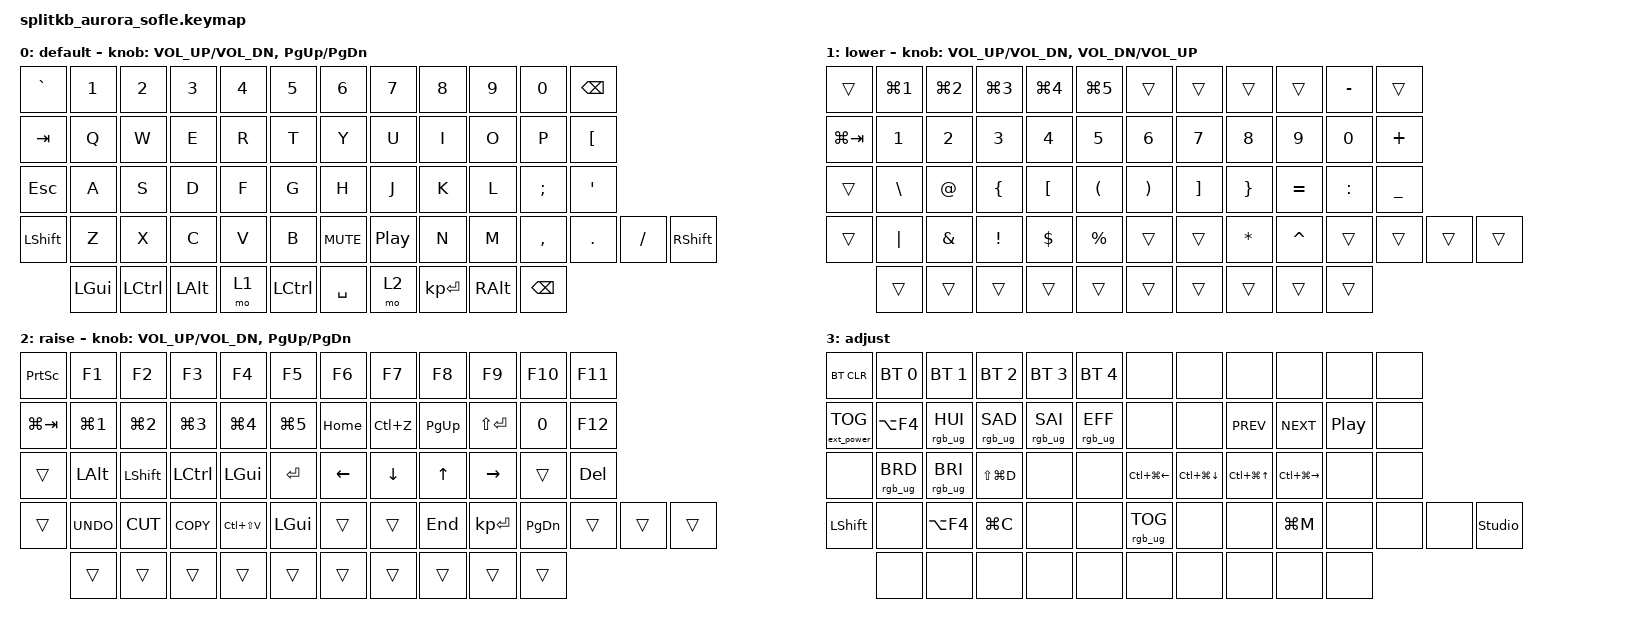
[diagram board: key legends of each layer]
/*
 * Copyright (c) 2020 The ZMK Contributors
 *
 * SPDX-License-Identifier: MIT
 */

#include <behaviors.dtsi>
#include <dt-bindings/zmk/bt.h>
#include <dt-bindings/zmk/ext_power.h>
#include <dt-bindings/zmk/keys.h>
#include <dt-bindings/zmk/rgb.h>

#define BASE 0
#define LOWER 1
#define RAISE 2
#define ADJUST 3

/ {
    // Activate ADJUST layer by pressing raise and lower

    conditional_layers {
        compatible = "zmk,conditional-layers";

        tri_layer {
            if-layers = <LOWER RAISE>;
            then-layer = <ADJUST>;
        };
    };

    macros {
        new_macro: new_macro {
            compatible = "zmk,behavior-macro";
            #binding-cells = <0>;
            bindings = <&none>;
            label = "NEW_MACRO";
        };
    };

    keymap {
        compatible = "zmk,keymap";

        default_layer {
            display-name = "default";

            // ------------------------------------------------------------------------------------------------------------
            // |   GRAVE   |     N1    |     N2    |     N3    |     N4    |     N5    |            |     N6    |     N7    |     N8    |     N9    |     N0    | BACKSPACE |
            // |    TAB    |     Q     |     W     |     E     |     R     |     T     |            |     Y     |     U     |     I     |     O     |     P     |    LBKT   |
            // |    ESC    |     A     |     S     |     D     |     F     |     G     |            |     H     |     J     |     K     |     L     |    SEMI   |    SQT    |
            // |   LSHFT   |     Z     |     X     |     C     |     V     |     B     |   C_MUTE  | |    C_PP   |     N     |     M     |   COMMA   |    DOT    |    FSLH   |   RSHFT   |
            //             |    LGUI   |   LCTRL   |    LALT   |    MO1    |   LCTRL   | |   SPACE   |    MO2    |  KP_ENTER |    RALT   | BACKSPACE |

            bindings = <
&kp GRAVE      &kp N1         &kp N2         &kp N3         &kp N4         &kp N5         &kp N6         &kp N7         &kp N8         &kp N9         &kp N0         &kp BACKSPACE
&kp TAB        &kp Q          &kp W          &kp E          &kp R          &kp T          &kp Y          &kp U          &kp I          &kp O          &kp P          &kp LBKT
&kp ESC        &kp A          &kp S          &kp D          &kp F          &kp G          &kp H          &kp J          &kp K          &kp L          &kp SEMI       &kp SQT
&kp LSHFT      &kp Z          &kp X          &kp C          &kp V          &kp B          &kp C_MUTE     &kp C_PP       &kp N          &kp M          &kp COMMA      &kp DOT        &kp FSLH       &kp RSHFT
               &kp LGUI       &kp LCTRL      &kp LALT       &mo 1          &kp LCTRL      &kp SPACE      &mo 2          &kp KP_ENTER   &kp RALT       &kp BACKSPACE
            >;

            sensor-bindings = <&inc_dec_kp C_VOL_UP C_VOL_DN &inc_dec_kp PG_UP PG_DN>;
        };

        lower_layer {
            display-name = "lower";

            // TODO: Some binds are waiting for shifted keycode support.
            // ------------------------------------------------------------------------------------------------------------
            // |         |  LG(N1) |  LG(N2) |  LG(N3) |  LG(N4) |  LG(N5) |          |         |         |         |         |  MINUS  |         |
            // | LG(TAB) |    N1   |    N2   |    N3   |    N4   |    N5   |          |    N6   |    N7   |    N8   |    N9   |    N0   |   PLUS  |
            // |         |   BSLH  |    AT   |   LBRC  |   LBKT  |   LPAR  |          |   RPAR  |   RBKT  |   RBRC  |  EQUAL  |  COLON  |  UNDER  |
            // |         |   PIPE  |   AMPS  |   EXCL  |   DLLR  |  PRCNT  |         | |         |  ASTRK  |  CARET  |         |         |         |         |
            //           |         |         |         |         |         | |         |         |         |         |         |

            bindings = <
&trans       &kp LG(N1)   &kp LG(N2)   &kp LG(N3)   &kp LG(N4)   &kp LG(N5)   &trans       &trans       &trans       &trans       &kp MINUS    &trans
&kp LG(TAB)  &kp N1       &kp N2       &kp N3       &kp N4       &kp N5       &kp N6       &kp N7       &kp N8       &kp N9       &kp N0       &kp PLUS
&trans       &kp BSLH     &kp AT       &kp LBRC     &kp LBKT     &kp LPAR     &kp RPAR     &kp RBKT     &kp RBRC     &kp EQUAL    &kp COLON    &kp UNDER
&trans       &kp PIPE     &kp AMPS     &kp EXCL     &kp DLLR     &kp PRCNT    &trans       &trans       &kp ASTRK    &kp CARET    &trans       &trans       &trans       &trans
             &trans       &trans       &trans       &trans       &trans       &trans       &trans       &trans       &trans       &trans
            >;

            sensor-bindings = <&inc_dec_kp C_VOL_UP C_VOL_DN &inc_dec_kp C_VOL_DN C_VOL_UP>;
        };

        raise_layer {
            display-name = "raise";

            // ------------------------------------------------------------------------------------------------------------
            // |   PSCRN   |     F1    |     F2    |     F3    |     F4    |     F5    |            |     F6    |     F7    |     F8    |     F9    |    F10    |    F11    |
            // |  LG(TAB)  |   LG(N1)  |   LG(N2)  |   LG(N3)  |   LG(N4)  |   LG(N5)  |            |    HOME   |   LC(Z)   |   PG_UP   | LS(ENTER) |     N0    |    F12    |
            // |           |    LALT   |   LSHFT   |   LCTRL   |    LGUI   |   ENTER   |            |    LEFT   |    DOWN   |     UP    |   RIGHT   |           |    DEL    |
            // |           |   K_UNDO  |   K_CUT   |   K_COPY  | LC(LS(V)) |    LGUI   |           | |           |    END    |  KP_ENTER |   PG_DN   |           |           |           |
            //             |           |           |           |           |           | |           |           |           |           |           |

            bindings = <
&kp PSCRN      &kp F1         &kp F2         &kp F3         &kp F4         &kp F5         &kp F6         &kp F7         &kp F8         &kp F9         &kp F10        &kp F11
&kp LG(TAB)    &kp LG(N1)     &kp LG(N2)     &kp LG(N3)     &kp LG(N4)     &kp LG(N5)     &kp HOME       &kp LC(Z)      &kp PG_UP      &kp LS(ENTER)  &kp N0         &kp F12
&trans         &kp LALT       &kp LSHFT      &kp LCTRL      &kp LGUI       &kp ENTER      &kp LEFT       &kp DOWN       &kp UP         &kp RIGHT      &trans         &kp DEL
&trans         &kp K_UNDO     &kp K_CUT      &kp K_COPY     &kp LC(LS(V))  &kp LGUI       &trans         &trans         &kp END        &kp KP_ENTER   &kp PG_DN      &trans         &trans         &trans
               &trans         &trans         &trans         &trans         &trans         &trans         &trans         &trans         &trans         &trans
            >;

            sensor-bindings = <&inc_dec_kp C_VOL_UP C_VOL_DN &inc_dec_kp PG_UP PG_DN>;
        };

        adjust_layer {
            display-name = "adjust";

            // ----------------------------------------------------------------------------------------------------------------------------
            // |     BTCLR     |      BT1      |      BT2      |      BT3      |      BT4      |      BT5      |                |               |               |               |               |               |               |
            // |     EXTPWR    |     LA(F4)    |    RGB_HUI    |    RGB_SAD    |    RGB_SAI    |    RGB_EFF    |                |               |               |     C_PREV    |     C_NEXT    |      C_PP     |               |
            // |               |    RGB_BRD    |    RGB_BRI    |   LS(LG(D))   |               |               |                |  LC(LG(LEFT)) |  LC(LG(DOWN)) |   LC(LG(UP))  | LC(LG(RIGHT)) |               |               |
            // |     LSHFT     |               |     LA(F4)    |     LG(C)     |               |               |    RGB_TOG    | |               |               |     LG(M)     |               |               |               |     UNLOCK    |
            //                 |               |               |               |               |               | |               |               |               |               |               |

            bindings = <
&bt BT_CLR         &bt BT_SEL 0       &bt BT_SEL 1       &bt BT_SEL 2       &bt BT_SEL 3       &bt BT_SEL 4       &none              &none              &none              &none              &none              &none
&ext_power EP_TOG  &kp LA(F4)         &rgb_ug RGB_HUI    &rgb_ug RGB_SAD    &rgb_ug RGB_SAI    &rgb_ug RGB_EFF    &none              &none              &kp C_PREV         &kp C_NEXT         &kp C_PP           &none
&none              &rgb_ug RGB_BRD    &rgb_ug RGB_BRI    &kp LS(LG(D))      &none              &none              &kp LC(LG(LEFT))   &kp LC(LG(DOWN))   &kp LC(LG(UP))     &kp LC(LG(RIGHT))  &none              &none
&kp LSHFT          &none              &kp LA(F4)         &kp LG(C)          &none              &none              &rgb_ug RGB_TOG    &none              &none              &kp LG(M)          &none              &none              &none              &studio_unlock
                   &none              &none              &none              &none              &none              &none              &none              &none              &none              &none
            >;
        };
    };
};
